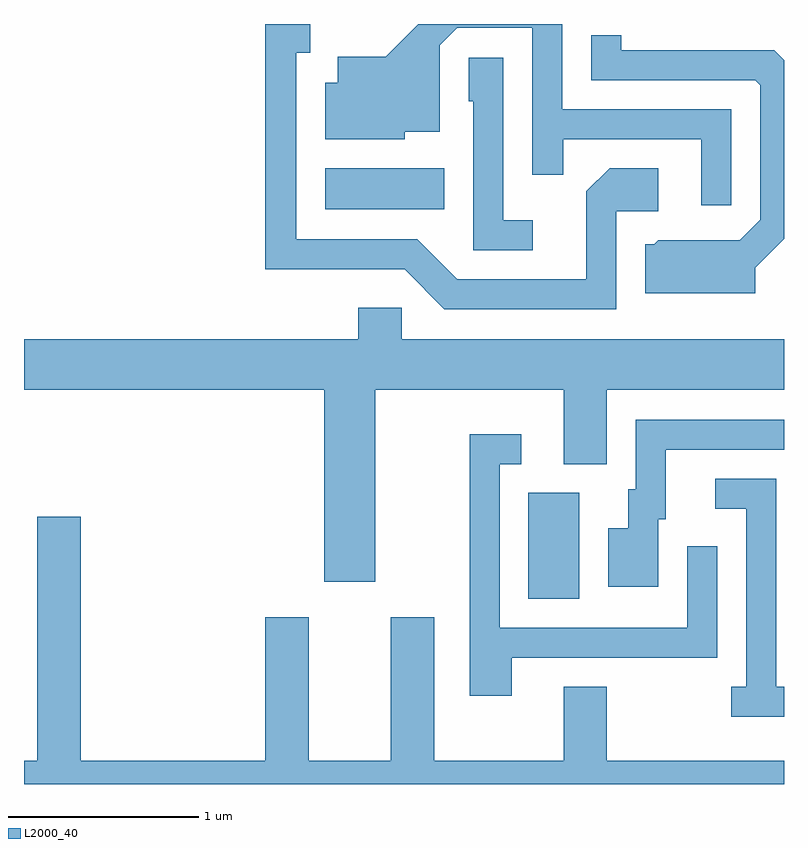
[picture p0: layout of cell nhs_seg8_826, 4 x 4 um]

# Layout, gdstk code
import gdstk
lib = gdstk.Library(unit=1e-6, precision=1e-09)
def R(c, l, rs):  # rectangles x0, y0, x1, y1
    for r in rs: c.add(gdstk.rectangle(r[:2], r[2:], *l))
def P(c, l, *ps):  # polygons
    for p in ps: c.add(gdstk.Polygon(p, *l))
L2000_40 = (2000, 40)

nhs_seg8_826 = lib.new_cell('nhs_seg8_826')
R(nhs_seg8_826, L2000_40, [(212.266,1835.316,212.534,1835.874), (211.196,1837.366,211.824,1837.584)])
P(nhs_seg8_826, L2000_40, [(212.729,1837.356),(212.949,1837.356),(212.949,1837.584),(212.694,1837.584),(212.571,1837.462),(212.571,1836.999),(211.892,1836.999),(211.682,1837.209),(211.044,1837.209),(211.044,1838.191),(211.118,1838.191),(211.118,1838.342),(210.881,1838.342),(210.881,1837.051),(211.614,1837.051),(211.824,1836.841),(212.729,1836.841)],
  [(213.334,1837.894),(212.444,1837.894),(212.444,1838.342),(211.687,1838.342),(211.514,1838.169),(211.261,1838.169),(211.261,1838.034),(211.196,1838.034),(211.196,1837.736),(211.614,1837.736),(211.614,1837.776),(211.799,1837.776),(211.799,1838.229),(211.892,1838.321),(212.286,1838.321),(212.286,1837.548),(212.449,1837.548),(212.449,1837.736),(213.176,1837.736),(213.176,1837.388),(213.334,1837.388)],
  [(213.459,1837.059),(213.611,1837.211),(213.611,1838.152),(213.559,1838.204),(212.754,1838.204),(212.754,1838.283),(212.596,1838.283),(212.596,1838.046),(213.459,1838.046),(213.486,1838.019),(213.486,1837.312),(213.379,1837.204),(212.949,1837.204),(212.929,1837.184),(212.881,1837.184),(212.881,1836.926),(213.459,1836.926)],
  [(212.288,1837.309),(212.134,1837.309),(212.134,1838.164),(211.951,1838.164),(211.951,1837.936),(211.976,1837.936),(211.976,1837.151),(212.288,1837.151)],
  [(211.459,1836.416),(212.451,1836.416),(212.451,1836.026),(212.679,1836.026),(212.679,1836.416),(213.611,1836.416),(213.611,1836.684),(211.599,1836.684),(211.599,1836.849),(211.371,1836.849),(211.371,1836.684),(209.611,1836.684),(209.611,1836.416),(211.191,1836.416),(211.191,1835.406),(211.459,1835.406)],
  [(212.949,1835.736),(212.989,1835.736),(212.989,1836.101),(213.611,1836.101),(213.611,1836.259),(212.831,1836.259),(212.831,1835.894),(212.791,1835.894),(212.791,1835.689),(212.686,1835.689),(212.686,1835.381),(212.949,1835.381)],
  [(212.179,1835.006),(213.259,1835.006),(213.259,1835.593),(213.101,1835.593),(213.101,1835.164),(212.114,1835.164),(212.114,1836.026),(212.228,1836.026),(212.228,1836.184),(211.956,1836.184),(211.956,1834.806),(212.179,1834.806)],
  [(213.611,1834.854),(213.569,1834.854),(213.569,1835.949),(213.248,1835.949),(213.248,1835.791),(213.411,1835.791),(213.411,1834.854),(213.333,1834.854),(213.333,1834.696),(213.611,1834.696)],
  [(213.611,1834.464),(212.679,1834.464),(212.679,1834.854),(212.451,1834.854),(212.451,1834.464),(211.769,1834.464),(211.769,1835.219),(211.541,1835.219),(211.541,1834.464),(211.109,1834.464),(211.109,1835.219),(210.881,1835.219),(210.881,1834.464),(209.909,1834.464),(209.909,1835.749),(209.681,1835.749),(209.681,1834.464),(209.611,1834.464),(209.611,1834.342),(213.611,1834.342)])

lib.write_gds('nhs_seg8_826.gds')
